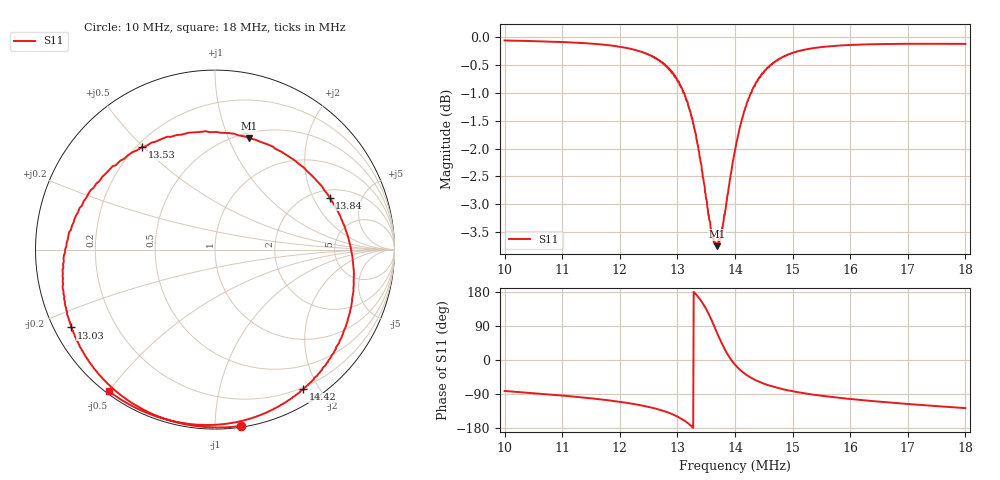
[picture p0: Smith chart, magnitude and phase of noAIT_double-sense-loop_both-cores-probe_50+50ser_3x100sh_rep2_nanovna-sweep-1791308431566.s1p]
! NanoVNA Web complex sweep
! Processing: unaveraged complex samples; linear segment spacing; no smoothing
# Hz S RI R 50
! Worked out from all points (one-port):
!   1010 points, 10 MHz to 18 MHz, reference 50 ohm
!   lowest |S11| = -3.7 dB at 13.69 MHz (marker M1), VSWR 4.70, Z = 27.7 + j59.6 ohm
!   |S11| at or under -10 dB: nowhere
!   S11 on the Smith chart (normalised r, x): 10 MHz: 0.01, -1.16; 13.03 MHz: 0.05, -0.25; 13.53 MHz: 0.22, +0.49; 13.84 MHz: 2.36, +2.70; 14.42 MHz: 0.18, -1.80; 18 MHz: 0.01, -0.50
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1e7  0.1436 -0.9826
1.100698e7  -0.0663 -0.9876
1.200604e7  -0.3426 -0.9181
1.234698e7  -0.47 -0.8498
1.260864e7  -0.5871 -0.7576
1.282272e7  -0.6954 -0.6327
1.300509e7  -0.7892 -0.4622
1.302888e7  -0.8011 -0.4336
1.317953e7  -0.8493 -0.2049
1.332225e7  -0.8122 0.098
1.342533e7  -0.6765 0.3439
1.35284e7  -0.4081 0.5702
1.36077e7  -0.1197 0.6528
1.368698e7  0.1899 0.6211
1.37742e7  0.4966 0.4556
1.383764e7  0.6383 0.2902
1.3909e7  0.7397 0.0764
1.400414e7  0.7725 -0.1801
1.409929e7  0.7398 -0.3878
1.419444e7  0.6739 -0.5451
1.430545e7  0.5882 -0.6783
1.442438e7  0.4915 -0.7785
1.467018e7  0.3129 -0.8957
1.50032e7  0.1258 -0.9598
1.544722e7  -0.0553 -0.977
1.600225e7  -0.2192 -0.9584
1.700131e7  -0.4335 -0.8858
1.800036e7  -0.5932 -0.7875
